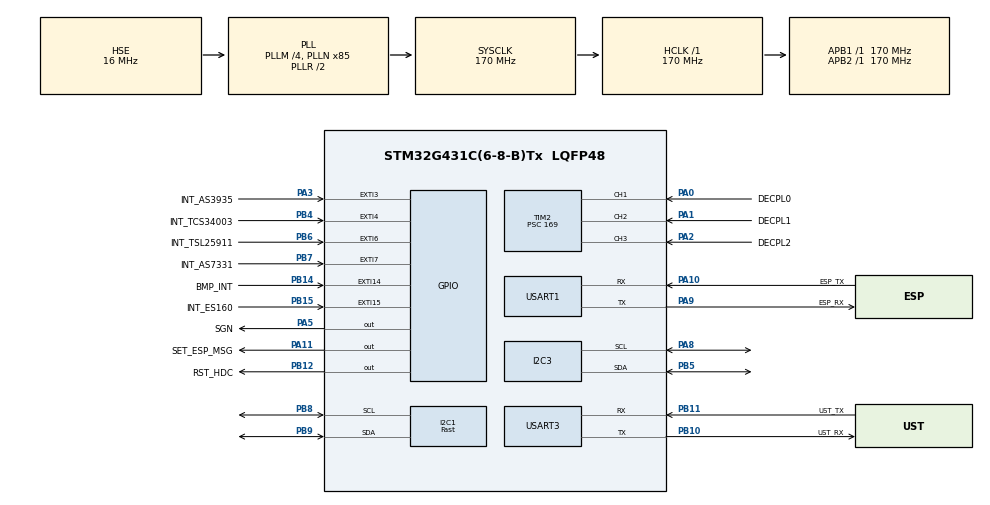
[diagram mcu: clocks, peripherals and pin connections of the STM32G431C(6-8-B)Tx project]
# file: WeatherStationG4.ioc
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Dma.CORDIC_READ.7.Direction=DMA_PERIPH_TO_MEMORY
Dma.CORDIC_READ.7.EventEnable=DISABLE
Dma.CORDIC_READ.7.Instance=DMA2_Channel2
Dma.CORDIC_READ.7.MemDataAlignment=DMA_MDATAALIGN_WORD
Dma.CORDIC_READ.7.MemInc=DMA_MINC_ENABLE
Dma.CORDIC_READ.7.Mode=DMA_NORMAL
Dma.CORDIC_READ.7.PeriphDataAlignment=DMA_PDATAALIGN_WORD
Dma.CORDIC_READ.7.PeriphInc=DMA_PINC_DISABLE
Dma.CORDIC_READ.7.Polarity=HAL_DMAMUX_REQ_GEN_RISING
Dma.CORDIC_READ.7.Priority=DMA_PRIORITY_MEDIUM
Dma.CORDIC_READ.7.RequestNumber=1
Dma.CORDIC_READ.7.SignalID=NONE
Dma.CORDIC_READ.7.SyncEnable=DISABLE
Dma.CORDIC_READ.7.SyncPolarity=HAL_DMAMUX_SYNC_NO_EVENT
Dma.CORDIC_READ.7.SyncRequestNumber=1
Dma.CORDIC_READ.7.SyncSignalID=NONE
Dma.CORDIC_WRITE.8.Direction=DMA_MEMORY_TO_PERIPH
Dma.CORDIC_WRITE.8.EventEnable=DISABLE
Dma.CORDIC_WRITE.8.Instance=DMA2_Channel3
Dma.CORDIC_WRITE.8.MemDataAlignment=DMA_MDATAALIGN_WORD
Dma.CORDIC_WRITE.8.MemInc=DMA_MINC_ENABLE
Dma.CORDIC_WRITE.8.Mode=DMA_NORMAL
Dma.CORDIC_WRITE.8.PeriphDataAlignment=DMA_PDATAALIGN_WORD
Dma.CORDIC_WRITE.8.PeriphInc=DMA_PINC_DISABLE
Dma.CORDIC_WRITE.8.Polarity=HAL_DMAMUX_REQ_GEN_RISING
Dma.CORDIC_WRITE.8.Priority=DMA_PRIORITY_MEDIUM
Dma.CORDIC_WRITE.8.RequestNumber=1
Dma.CORDIC_WRITE.8.SignalID=NONE
Dma.CORDIC_WRITE.8.SyncEnable=DISABLE
Dma.CORDIC_WRITE.8.SyncPolarity=HAL_DMAMUX_SYNC_NO_EVENT
Dma.CORDIC_WRITE.8.SyncRequestNumber=1
Dma.CORDIC_WRITE.8.SyncSignalID=NONE
Dma.Request0=USART1_RX
Dma.Request1=USART1_TX
Dma.Request2=TIM2_CH1
Dma.Request3=TIM2_CH2
Dma.Request4=TIM2_CH3
Dma.Request5=USART3_RX
Dma.Request6=USART3_TX
Dma.Request7=CORDIC_READ
Dma.Request8=CORDIC_WRITE
Dma.TIM2_CH1.2.Direction=DMA_PERIPH_TO_MEMORY
Dma.TIM2_CH1.2.EventEnable=DISABLE
Dma.TIM2_CH1.2.Instance=DMA1_Channel3
Dma.TIM2_CH1.2.MemDataAlignment=DMA_MDATAALIGN_WORD
Dma.TIM2_CH1.2.MemInc=DMA_MINC_ENABLE
Dma.TIM2_CH1.2.Mode=DMA_NORMAL
Dma.TIM2_CH1.2.PeriphDataAlignment=DMA_PDATAALIGN_WORD
Dma.TIM2_CH1.2.PeriphInc=DMA_PINC_DISABLE
Dma.TIM2_CH1.2.Polarity=HAL_DMAMUX_REQ_GEN_RISING
Dma.TIM2_CH1.2.Priority=DMA_PRIORITY_VERY_HIGH
Dma.TIM2_CH1.2.RequestNumber=1
Dma.TIM2_CH1.2.SignalID=NONE
Dma.TIM2_CH1.2.SyncEnable=DISABLE
Dma.TIM2_CH1.2.SyncPolarity=HAL_DMAMUX_SYNC_NO_EVENT
Dma.TIM2_CH1.2.SyncRequestNumber=1
Dma.TIM2_CH1.2.SyncSignalID=NONE
Dma.TIM2_CH2.3.Direction=DMA_PERIPH_TO_MEMORY
Dma.TIM2_CH2.3.EventEnable=DISABLE
Dma.TIM2_CH2.3.Instance=DMA1_Channel4
Dma.TIM2_CH2.3.MemDataAlignment=DMA_MDATAALIGN_WORD
Dma.TIM2_CH2.3.MemInc=DMA_MINC_ENABLE
Dma.TIM2_CH2.3.Mode=DMA_NORMAL
Dma.TIM2_CH2.3.PeriphDataAlignment=DMA_PDATAALIGN_WORD
Dma.TIM2_CH2.3.PeriphInc=DMA_PINC_DISABLE
Dma.TIM2_CH2.3.Polarity=HAL_DMAMUX_REQ_GEN_RISING
Dma.TIM2_CH2.3.Priority=DMA_PRIORITY_VERY_HIGH
Dma.TIM2_CH2.3.RequestNumber=1
Dma.TIM2_CH2.3.SignalID=NONE
Dma.TIM2_CH2.3.SyncEnable=DISABLE
Dma.TIM2_CH2.3.SyncPolarity=HAL_DMAMUX_SYNC_NO_EVENT
Dma.TIM2_CH2.3.SyncRequestNumber=1
Dma.TIM2_CH2.3.SyncSignalID=NONE
Dma.TIM2_CH3.4.Direction=DMA_PERIPH_TO_MEMORY
Dma.TIM2_CH3.4.EventEnable=DISABLE
Dma.TIM2_CH3.4.Instance=DMA1_Channel5
Dma.TIM2_CH3.4.MemDataAlignment=DMA_MDATAALIGN_WORD
Dma.TIM2_CH3.4.MemInc=DMA_MINC_ENABLE
Dma.TIM2_CH3.4.Mode=DMA_NORMAL
Dma.TIM2_CH3.4.PeriphDataAlignment=DMA_PDATAALIGN_WORD
Dma.TIM2_CH3.4.PeriphInc=DMA_PINC_DISABLE
Dma.TIM2_CH3.4.Polarity=HAL_DMAMUX_REQ_GEN_RISING
Dma.TIM2_CH3.4.Priority=DMA_PRIORITY_VERY_HIGH
Dma.TIM2_CH3.4.RequestNumber=1
Dma.TIM2_CH3.4.SignalID=NONE
Dma.TIM2_CH3.4.SyncEnable=DISABLE
Dma.TIM2_CH3.4.SyncPolarity=HAL_DMAMUX_SYNC_NO_EVENT
Dma.TIM2_CH3.4.SyncRequestNumber=1
Dma.TIM2_CH3.4.SyncSignalID=NONE
Dma.USART1_RX.0.Direction=DMA_PERIPH_TO_MEMORY
Dma.USART1_RX.0.EventEnable=DISABLE
Dma.USART1_RX.0.Instance=DMA1_Channel1
Dma.USART1_RX.0.MemDataAlignment=DMA_MDATAALIGN_BYTE
Dma.USART1_RX.0.MemInc=DMA_MINC_ENABLE
Dma.USART1_RX.0.Mode=DMA_CIRCULAR
Dma.USART1_RX.0.PeriphDataAlignment=DMA_PDATAALIGN_BYTE
Dma.USART1_RX.0.PeriphInc=DMA_PINC_DISABLE
Dma.USART1_RX.0.Polarity=HAL_DMAMUX_REQ_GEN_RISING
Dma.USART1_RX.0.Priority=DMA_PRIORITY_HIGH
Dma.USART1_RX.0.RequestNumber=1
Dma.USART1_RX.0.SignalID=NONE
Dma.USART1_RX.0.SyncEnable=DISABLE
Dma.USART1_RX.0.SyncPolarity=HAL_DMAMUX_SYNC_NO_EVENT
Dma.USART1_RX.0.SyncRequestNumber=1
Dma.USART1_RX.0.SyncSignalID=NONE
Dma.USART1_TX.1.Direction=DMA_MEMORY_TO_PERIPH
Dma.USART1_TX.1.EventEnable=DISABLE
Dma.USART1_TX.1.Instance=DMA1_Channel2
Dma.USART1_TX.1.MemDataAlignment=DMA_MDATAALIGN_BYTE
Dma.USART1_TX.1.MemInc=DMA_MINC_ENABLE
Dma.USART1_TX.1.Mode=DMA_NORMAL
Dma.USART1_TX.1.PeriphDataAlignment=DMA_PDATAALIGN_BYTE
Dma.USART1_TX.1.PeriphInc=DMA_PINC_DISABLE
Dma.USART1_TX.1.Polarity=HAL_DMAMUX_REQ_GEN_RISING
Dma.USART1_TX.1.Priority=DMA_PRIORITY_LOW
Dma.USART1_TX.1.RequestNumber=1
Dma.USART1_TX.1.SignalID=NONE
Dma.USART1_TX.1.SyncEnable=DISABLE
Dma.USART1_TX.1.SyncPolarity=HAL_DMAMUX_SYNC_NO_EVENT
Dma.USART1_TX.1.SyncRequestNumber=1
Dma.USART1_TX.1.SyncSignalID=NONE
Dma.USART3_RX.5.Direction=DMA_PERIPH_TO_MEMORY
Dma.USART3_RX.5.EventEnable=DISABLE
Dma.USART3_RX.5.Instance=DMA1_Channel6
Dma.USART3_RX.5.MemDataAlignment=DMA_MDATAALIGN_BYTE
Dma.USART3_RX.5.MemInc=DMA_MINC_ENABLE
Dma.USART3_RX.5.Mode=DMA_NORMAL
Dma.USART3_RX.5.PeriphDataAlignment=DMA_PDATAALIGN_BYTE
Dma.USART3_RX.5.PeriphInc=DMA_PINC_DISABLE
Dma.USART3_RX.5.Polarity=HAL_DMAMUX_REQ_GEN_RISING
Dma.USART3_RX.5.Priority=DMA_PRIORITY_HIGH
Dma.USART3_RX.5.RequestNumber=1
Dma.USART3_RX.5.SignalID=NONE
Dma.USART3_RX.5.SyncEnable=DISABLE
Dma.USART3_RX.5.SyncPolarity=HAL_DMAMUX_SYNC_NO_EVENT
Dma.USART3_RX.5.SyncRequestNumber=1
Dma.USART3_RX.5.SyncSignalID=NONE
Dma.USART3_TX.6.Direction=DMA_MEMORY_TO_PERIPH
Dma.USART3_TX.6.EventEnable=DISABLE
Dma.USART3_TX.6.Instance=DMA2_Channel1
Dma.USART3_TX.6.MemDataAlignment=DMA_MDATAALIGN_BYTE
Dma.USART3_TX.6.MemInc=DMA_MINC_ENABLE
Dma.USART3_TX.6.Mode=DMA_NORMAL
Dma.USART3_TX.6.PeriphDataAlignment=DMA_PDATAALIGN_BYTE
Dma.USART3_TX.6.PeriphInc=DMA_PINC_DISABLE
Dma.USART3_TX.6.Polarity=HAL_DMAMUX_REQ_GEN_RISING
Dma.USART3_TX.6.Priority=DMA_PRIORITY_LOW
Dma.USART3_TX.6.RequestNumber=1
Dma.USART3_TX.6.SignalID=NONE
Dma.USART3_TX.6.SyncEnable=DISABLE
Dma.USART3_TX.6.SyncPolarity=HAL_DMAMUX_SYNC_NO_EVENT
Dma.USART3_TX.6.SyncRequestNumber=1
Dma.USART3_TX.6.SyncSignalID=NONE
I2C1.I2C_Speed_Mode=I2C_Fast
I2C1.Timing=0x40621236
I2C3.Timing=0x40B285C2
Mcu.Family=STM32G4
Mcu.Name=STM32G431C(6-8-B)Tx
Mcu.Package=LQFP48
NVIC.CORDIC_IRQn=true\:3\:0\:true\:false\:true\:true\:true\:true
NVIC.DMA1_Channel1_IRQn=true\:1\:0\:true\:false\:true\:false\:true\:true
NVIC.DMA1_Channel2_IRQn=true\:1\:0\:true\:false\:true\:false\:true\:true
NVIC.DMA1_Channel3_IRQn=true\:0\:0\:false\:false\:true\:false\:true\:true
NVIC.DMA1_Channel4_IRQn=true\:0\:0\:false\:false\:true\:false\:true\:true
NVIC.DMA1_Channel5_IRQn=true\:0\:0\:false\:false\:true\:false\:true\:true
NVIC.DMA1_Channel6_IRQn=true\:1\:0\:true\:false\:true\:false\:true\:true
NVIC.DMA2_Channel1_IRQn=true\:0\:0\:false\:false\:true\:false\:true\:true
NVIC.DMA2_Channel2_IRQn=true\:0\:0\:false\:false\:true\:false\:true\:true
NVIC.DMA2_Channel3_IRQn=true\:0\:0\:false\:false\:true\:false\:true\:true
NVIC.EXTI15_10_IRQn=true\:4\:0\:true\:false\:true\:true\:true\:true
NVIC.EXTI3_IRQn=true\:4\:0\:true\:false\:true\:true\:true\:true
NVIC.EXTI4_IRQn=true\:4\:0\:true\:false\:true\:true\:true\:true
NVIC.EXTI9_5_IRQn=true\:4\:0\:true\:false\:true\:true\:true\:true
NVIC.PriorityGroup=NVIC_PRIORITYGROUP_4
NVIC.TIM2_IRQn=true\:2\:0\:true\:false\:true\:true\:true\:true
NVIC.USART1_IRQn=true\:0\:0\:false\:false\:true\:false\:true\:true
NVIC.USART3_IRQn=true\:0\:0\:false\:false\:true\:false\:true\:true
PA0.GPIO_Label=DECPL0
PA0.Signal=S_TIM2_CH1
PA1.GPIO_Label=DECPL1
PA1.Signal=S_TIM2_CH2
PA10.GPIO_Label=ESP_TX
PA10.Mode=Asynchronous
PA10.Signal=USART1_RX
PA11.GPIO_Label=SET_ESP_MSG
PA11.Signal=GPIO_Output
PA13.Mode=Trace_Asynchronous_SW
PA13.Signal=SYS_JTMS-SWDIO
PA14.Mode=Trace_Asynchronous_SW
PA14.Signal=SYS_JTCK-SWCLK
PA2.GPIO_Label=DECPL2
PA2.Signal=S_TIM2_CH3
PA3.GPIO_Label=INT_AS3935
PA3.Signal=GPXTI3
PA5.GPIO_Label=SGN
PA5.GPIO_Speed=GPIO_SPEED_FREQ_VERY_HIGH
PA5.Signal=GPIO_Output
PA8.Mode=I2C
PA8.Signal=I2C3_SCL
PA9.GPIO_Label=ESP_RX
PA9.Mode=Asynchronous
PA9.Signal=USART1_TX
PB10.GPIO_Label=UST_RX
PB10.Mode=Asynchronous
PB10.Signal=USART3_TX
PB11.GPIO_Label=UST_TX
PB11.GPIO_PuPd=GPIO_PULLUP
PB11.Mode=Asynchronous
PB11.Signal=USART3_RX
PB12.GPIO_Label=RST_HDC
PB12.PinState=GPIO_PIN_SET
PB12.Signal=GPIO_Output
PB14.GPIO_Label=BMP_INT
PB14.Signal=GPXTI14
PB15.GPIO_Label=INT_ES160
PB15.GPIO_ModeDefaultEXTI=GPIO_MODE_IT_FALLING
PB15.Signal=GPXTI15
PB3.Mode=Trace_Asynchronous_SW
PB3.Signal=SYS_JTDO-SWO
PB4.GPIO_Label=INT_TCS34003
PB4.GPIO_ModeDefaultEXTI=GPIO_MODE_IT_FALLING
PB4.Signal=GPXTI4
PB5.Mode=I2C
PB5.Signal=I2C3_SDA
PB6.GPIO_Label=INT_TSL25911
PB6.GPIO_ModeDefaultEXTI=GPIO_MODE_IT_FALLING
PB6.Signal=GPXTI6
PB7.GPIO_Label=INT_AS7331
PB7.Signal=GPXTI7
PB8-BOOT0.Mode=I2C
PB8-BOOT0.Signal=I2C1_SCL
PB9.Mode=I2C
PB9.Signal=I2C1_SDA
PF0-OSC_IN.Mode=HSE-External-Oscillator
PF0-OSC_IN.Signal=RCC_OSC_IN
PF1-OSC_OUT.Mode=HSE-External-Oscillator
PF1-OSC_OUT.Signal=RCC_OSC_OUT
ProjectManager.HeapSize=0x200
ProjectManager.StackSize=0x400
ProjectManager.TargetToolchain=MDK-ARM V5.32
RCC.ADC12Freq_Value=170000000
RCC.AHBFreq_Value=170000000
RCC.APB1Freq_Value=170000000
RCC.APB1TimFreq_Value=170000000
RCC.APB2Freq_Value=170000000
RCC.APB2TimFreq_Value=170000000
RCC.CortexFreq_Value=170000000
RCC.EXTERNAL_CLOCK_VALUE=12288000
RCC.HCLKFreq_Value=170000000
RCC.HSE_VALUE=16000000
RCC.HSI48_VALUE=48000000
RCC.HSI_VALUE=16000000
RCC.LSE_VALUE=32768
RCC.PLLM=RCC_PLLM_DIV4
RCC.PLLN=85
RCC.PLLSourceVirtual=RCC_PLLSOURCE_HSE
RCC.SYSCLKFreq_VALUE=170000000
RCC.SYSCLKSource=RCC_SYSCLKSOURCE_PLLCLK
RCC.USBFreq_Value=170000000
RCC.VCOOutputFreq_Value=340000000
SH.S_TIM2_CH1.0=TIM2_CH1,Input_Capture1_from_TI1
SH.S_TIM2_CH2.0=TIM2_CH2,Input_Capture2_from_TI2
SH.S_TIM2_CH3.0=TIM2_CH3,Input_Capture3_from_TI3
TIM2.Channel-Input_Capture1_from_TI1=TIM_CHANNEL_1
TIM2.Channel-Input_Capture2_from_TI2=TIM_CHANNEL_2
TIM2.Channel-Input_Capture3_from_TI3=TIM_CHANNEL_3
TIM2.ICPolarity_CH1=TIM_INPUTCHANNELPOLARITY_RISING
TIM2.ICPolarity_CH2=TIM_INPUTCHANNELPOLARITY_RISING
TIM2.ICPolarity_CH3=TIM_INPUTCHANNELPOLARITY_RISING
TIM2.Prescaler=169
USART1.VirtualMode-Asynchronous=VM_ASYNC
USART3.StopBits=STOPBITS_2
USART3.VirtualMode-Asynchronous=VM_ASYNC
VP_CORDIC_VS_CORDIC.Mode=CORDIC_Activate
VP_SYS_VS_DBSignals.Mode=DisableDeadBatterySignals
VP_TIM2_VS_ClockSourceINT.Mode=Internal
board=custom

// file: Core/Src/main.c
/**
  ******************************************************************************
  * @file           : main.c
  * @brief          : Main program body
  ******************************************************************************
  * @attention
  *
  * Copyright (c) 2026 STMicroelectronics.
  * All rights reserved.
  *
  * This software is licensed under terms that can be found in the LICENSE file
  * in the root directory of this software component.
  * If no LICENSE file comes with this software, it is provided AS-IS.
  *
  ******************************************************************************
  */
/* USER CODE END Header */
#include "main.h"
#include "cordic.h"
#include "dma.h"
#include "i2c.h"
#include "tim.h"
#include "usart.h"
#include "gpio.h"

/* USER CODE BEGIN Includes */
#include <stdio.h>
#include <string.h>
#include <math.h>
/* I2C3 sensors */
#include "BMP581.h"
#include "HDC302x.h"
#include "TCS34003.h"
#include "ENS160.h"
/* I2C1 sensors */
#include "TSL25911.h"
#include "AS7331.h"
#include "AS3935.h"
#include "PGA460.h"
#include "Wind.h"
#include "debug.h"
/* USER CODE END Includes */

/* USER CODE BEGIN PM */

/* =========================================================================
 * Sensor ready bitmasks
 * ======================================================================= */
#define SENSOR_ENV        (1u << 0)  /* BMP581 + HDC302x environmental data  */
#define SENSOR_AS7331     (1u << 1)  /* UV sensor                             */
#define SENSOR_ENS160     (1u << 2)  /* Air quality                           */
#define SENSOR_TCS34003   (1u << 3)  /* RGB colour                            */
#define SENSOR_TSL25911   (1u << 4)  /* Ambient light                         */
#define SENSOR_WIND       (1u << 5)  /* Wind (disabled — commented out below) */
#define SENSOR_AS3935     (1u << 6)  /* Lightning (preserved across frames)   */

/* Bits that must ALL be set before a sensor data frame is sent to the ESP.
 * SENSOR_WIND (bit 5) is excluded while wind measurement is disabled.
 * SENSOR_AS3935 (bit 6) is excluded — lightning is asynchronous and is
 * preserved in the payload until a new event overwrites it.               */
#define SENSOR_FRAME_MASK  0x1Fu     /* bits 0–4: ENV|AS7331|ENS160|TCS|TSL  */

/* =========================================================================
 * STM32 -> ESP  UART frame protocol
 *
 * Frame A — Sensor data (68 bytes):
 *   [0x23][0x40][Payload(64)][CRC16(2)]
 *   SOF = { 0x23, 0x40 }  (Start + Length byte, 0x40 = 64)
 *   CRC covers Payload only (64 bytes).
 *
 * Frame B — Wind calibration readback (17 bytes):
 *   [0x23][0x24][0x0C][D01(4)][D12(4)][D20(4)][CRC16(2)]
 *   SOF = { 0x23, 0x24 }  (Start + FrameType CAL)
 *   CRC covers Length byte + 3 x uint32 = 13 bytes.
 * ======================================================================= */
#define UART_FRAME_START   0x23u   /* '#'  first SOF byte for both TX frames  */
#define UART_FRAME_CAL     0x24u   /* '$'  second SOF byte for calibration TX */

/* =========================================================================
 * ESP -> STM  UART frame protocol
 *
 * Single frame type — 20 bytes:
 *   [0x23][FrameType(1)][Wind_Input_t(16)][CRC16(2)]
 *   CRC covers FrameType + Wind_Input_t = 17 bytes.
 *
 * FrameType values:
 *   0x24  UART_FRAME_CAL      Boot-time: ESP sends Height + D01/D12/D20 from NVS
 *   0x25  UART_FRAME_TMP      Height field carries float temperature reference (°C)
 *   0x26  UART_FRAME_RH       Height field carries float RH reference (%)
 *   0x27  UART_FRAME_RST      System reset request (Wind_Input_t payload ignored)
 *   0x28  UART_FRAME_CAL_REQ  Run Wind_CalibrateReflector() request
 * ======================================================================= */
#define UART_FRAME_TMP      0x25u   /* '%' temperature reference              */
#define UART_FRAME_RH       0x26u   /* '&' RH reference                       */
#define UART_FRAME_RST      0x27u   /* ''' reset                              */
#define UART_FRAME_CAL_REQ  0x28u   /* '(' calibration run request            */

/* ESP->STM frame size = Start(1) + FrameType(1) + Wind_Input_t(16) + CRC(2) */
#define UART_ESP_RX_SIZE   20u

/* =========================================================================
 * AS3935 interrupt type encoding in DistanceEstimation byte
 *
 * The AS3935_LightningData_t.DistanceEstimation byte carries two fields:
 *   Bits [5:0]  = distance code  (AS3935_Distance_t, 0x3F = out of range)
 *   Bits [7:4]  = interrupt type (AS3935_INT_t: 0x01=NH, 0x04=D, 0x08=L)
 *
 * Bits [7:6] of the raw register are reserved/always-zero per datasheet,
 * so packing the INT type there is non-destructive and backward-compatible
 * with any ESP code that masks off the upper nibble before reading distance.
 *
 * Helper macros:
 *   AS3935_ENCODE_DIST(irq, dist)  — pack for the wire
 *   AS3935_DECODE_INT(byte)        — extract INT type
 *   AS3935_DECODE_DIST(byte)       — extract distance code
 * ======================================================================= */
#define AS3935_ENCODE_DIST(irq, dist)  ((uint8_t)(((uint8_t)(irq) << 4) | ((dist) & 0x3Fu)))
#define AS3935_DECODE_INT(byte)        (((byte) >> 4) & 0x0Fu)
#define AS3935_DECODE_DIST(byte)       ((byte) & 0x3Fu)

/* =========================================================================
 * PID / sensor filtering constants
 * ======================================================================= */
#define DT_SEC             1.0f
#define TEMP_DEADBAND      0.2f
#define RH_DEADBAND        0.5f
#define MAX_TEMP_STEP      0.2f
#define MAX_RH_STEP        0.5f
#define TEMP_OFFSET_MIN   -1.0f
#define TEMP_OFFSET_MAX    1.0f
#define RH_OFFSET_MIN    -3.0f
#define RH_OFFSET_MAX     3.0f

/* USER CODE END PM */

/* USER CODE BEGIN PV */
/* Data-ready flags set by HAL_GPIO_EXTI_Callback (gpio.c) */
extern volatile uint8_t AS3935_Ready;
extern volatile uint8_t AS7331_Ready;
extern volatile uint8_t ENS160_Ready;
extern volatile uint8_t BMP_Ready;
extern volatile uint8_t TCS34003_Ready;
extern volatile uint8_t TSL25911_Ready;
extern volatile uint8_t ESP_Transmitting;

volatile uint8_t sensorReadyFlags = 0;

/* Shared environmental data — written by main loop, read by Wind.c */
extern Wind_EnvData_t externalData;

/* Sensor data structs */
BMP581_sensor_data_t BMP581_Data;
HDC302x_t            Sensor1;
HDC302x_t            Sensor2;
ENS160_Resistance_t  ENS160_Resistance;

/* Wind calibration data: Height, PathLenD01, PathLenD12, PathLenD20 */
extern Wind_Input_t calibData;

/* =========================================================================
 * UART_Payload_t — 64 bytes, must match ESP UART_Payload_t exactly.
 *
 * TCS34003: full TCS34003_LightData_t (22 B) is sent — RGBC(8) + IR(2)
 * + CCT(4) + Lux(4) + Irradiance(4).  All fields computed on STM and
 * published by ESP to individual MQTT topics.
 *
 * AS3935 note: LightningData_t.DistanceEstimation encodes both the INT type
 * (bits [7:4]) and the distance code (bits [5:0]).  See AS3935_ENCODE_DIST.
 * ======================================================================= */
typedef struct __attribute__((packed)) {
    Wind_EnvData_t       Env;          /* 20 B: Temp, RH, Pressure, DewPt, SndSpd */
    Wind_t               Wind;         /*  8 B: Speed (f32), Direction (f32)        */
    AS3935_LightningData_t Lightning;  /*  5 B: Energy (u32), DistanceEstimation(u8)*/
    AS7331_DataOut_t     UV;           /*  8 B: TEMP_C100, UVA, UVB, UVC (u16 x4)  */
    ENS160_Data_t        AirQuality;   /*  5 B: AQI (u8), TVOC (u16), eCO2 (u16)   */
    TCS34003_LightData_t LightRGB;     /* 22 B: RGBC(8)+IR(2)+CCT(4)+Lux(4)+Irr(4) */
    TSL25911_LightData_t Light;        /* 10 B: FS, IR, Vis (u16 x3), Lux (f32)    */
} UART_Payload_t;                      /* = 64 bytes total                          */

_Static_assert(sizeof(UART_Payload_t) == 78u,
    "UART_Payload_t size mismatch with ESP — check struct members");

/* =========================================================================
 * STM -> ESP sensor data frame.
 * Wire:  [0x23][0x4E][Payload(78)][CRC16(2)]  = 82 bytes.
 * ======================================================================= */
typedef struct __attribute__((packed)) {
    uint8_t        Start;    /* 0x23                              */
    uint8_t        Length;   /* sizeof(UART_Payload_t) = 64=0x40 */
    UART_Payload_t Payload;
    uint16_t       CR;       /* CRC16 over Payload only           */
} UART_TX_Frame_t;

_Static_assert(sizeof(UART_TX_Frame_t) == 82u,
    "UART_TX_Frame_t size mismatch with ESP");

/* =========================================================================
 * STM -> ESP calibration frame (after Wind_CalibrateReflector).
 * Wire:  [0x23][0x24][0x0C][D01(4)][D12(4)][D20(4)][CRC16(2)]  = 17 bytes.
 * CRC covers: Length(1) + D01(4) + D12(4) + D20(4) = 13 bytes.
 * ======================================================================= */
typedef struct __attribute__((packed)) {
    uint8_t  Start;       /* UART_FRAME_START 0x23          */
    uint8_t  FrameType;   /* UART_FRAME_CAL   0x24          */
    uint8_t  Length;      /* 3 * sizeof(uint32_t) = 12      */
    uint32_t PathLenD01;
    uint32_t PathLenD12;
    uint32_t PathLenD20;
    uint16_t CR;
} UART_TX_Cal_Frame_t;

_Static_assert(sizeof(UART_TX_Cal_Frame_t) == 17u,
    "UART_TX_Cal_Frame_t size mismatch");

/* =========================================================================
 * ESP -> STM command frame (all types share this layout).
 * Wire:  [0x23][FrameType(1)][Wind_Input_t(16)][CRC16(2)]  = 20 bytes.
 * CRC covers: FrameType(1) + Wind_Input_t(16) = 17 bytes.
 * ======================================================================= */
typedef struct __attribute__((packed)) {
    uint8_t      Start;      /* UART_FRAME_START 0x23                      */
    uint8_t      FrameType;  /* 0x24..0x28 — selects action                */
    Wind_Input_t Payload;    /* Wind_Input_t: Height(4), D01(4),D12(4),D20(4) */
    uint16_t     CR;         /* CRC16 over FrameType + Wind_Input_t        */
} UART_RX_Frame_t;

_Static_assert(sizeof(UART_RX_Frame_t) == 20u,
    "UART_RX_Frame_t size mismatch");

/* DMA buffers */
static UART_TX_Frame_t  txFrameBuf;
static uint8_t          espRxBuf[UART_ESP_RX_SIZE];

/* Runtime state */
static float            temperatureCalibrated = 0.0f;
static float            humidityCalibrated    = 0.0f;
static uint8_t          isReset               = 0;
static volatile uint8_t isCalibrate           = 0;
volatile uint8_t        dmaTxBusy             = 0;  /* extern in usart.c */
uint32_t                time                  = 0;

typedef struct {
    float kp, ki, kd;
    float integral;
    float prevError;
    float outMin, outMax;
    float errAvg;
    float errVar;
} PID_t;

PID_t pidTemp1 = { .kp = 0.3f,  .ki = 0.05f, .kd = 0.1f,  .outMin = -5.0f,  .outMax = 5.0f  };
PID_t pidTemp2 = { .kp = 0.3f,  .ki = 0.05f, .kd = 0.1f,  .outMin = -5.0f,  .outMax = 5.0f  };
PID_t pidRH    = { .kp = 0.2f,  .ki = 0.02f, .kd = 0.05f, .outMin = -10.0f, .outMax = 10.0f };

/* USER CODE END PV */

void SystemClock_Config(void);

/* USER CODE BEGIN 0 */

/* -------------------------------------------------------------------------
 * CRC16 (Modbus) — matches the ESP implementation exactly.
 * ---------------------------------------------------------------------- */
static uint16_t CRC16(const uint8_t *data, uint16_t len) {
    uint16_t crc = 0xFFFFu;
    for (uint16_t i = 0; i < len; i++) {
        crc ^= data[i];
        for (uint8_t j = 0; j < 8u; j++) {
            crc = (crc & 1u) ? ((crc >> 1) ^ 0xA001u) : (crc >> 1);
        }
    }
    return crc;
}

/* -------------------------------------------------------------------------
 * SendDataToESP — non-blocking DMA TX.
 *
 * Wire frame: [0x23][0x4E][Payload(78)][CRC16(2)] = 82 bytes.
 * The ESP processSTMbyte() syncs on the two-byte sequence {0x23, 0x4E}.
 * STM_START_TX asserts SET_ESP_MSG so the ESP backs off (FIX-3 on ESP side).
 * dmaTxBusy is cleared in HAL_UART_TxCpltCallback (usart.c) on DMA complete.
 * ---------------------------------------------------------------------- */
void SendDataToESP(void) {
    if (dmaTxBusy) return;
    txFrameBuf.CR = CRC16((const uint8_t *)&txFrameBuf.Payload,
                          sizeof(UART_Payload_t));
    dmaTxBusy = 1;
    STM_START_TX;
    HAL_UART_Transmit_DMA(&huart1, (uint8_t *)&txFrameBuf,
                          sizeof(UART_TX_Frame_t));
}

/* -------------------------------------------------------------------------
 * SendCalibrationToESP — DMA TX of calibrated path lengths.
 *
 * Called after a successful Wind_CalibrateReflector().
 * Wire frame: [0x23][0x24][0x0C][D01][D12][D20][CRC16] = 17 bytes.
 * The ESP processSTMbyte() syncs on {0x23, 0x24} (CAL_SOF_B0/B1).
 * CRC covers: Length(1) + D01(4) + D12(4) + D20(4) = 13 bytes.
 * ---------------------------------------------------------------------- */
void SendCalibrationToESP(void) {
    if (dmaTxBusy) return;
    static UART_TX_Cal_Frame_t calFrame;   /* static: DMA needs it alive after return */
    calFrame.Start      = UART_FRAME_START;
    calFrame.FrameType  = UART_FRAME_CAL;
    calFrame.Length     = (uint8_t)(3u * sizeof(uint32_t));  /* 12 = 0x0C */
    calFrame.PathLenD01 = calibData.PathLenD01;
    calFrame.PathLenD12 = calibData.PathLenD12;
    calFrame.PathLenD20 = calibData.PathLenD20;
    calFrame.CR = CRC16((const uint8_t *)&calFrame.Length,
                        1u + 3u * sizeof(uint32_t));
    dmaTxBusy = 1;
    STM_START_TX;
    HAL_UART_Transmit_DMA(&huart1, (uint8_t *)&calFrame,
                          sizeof(UART_TX_Cal_Frame_t));
    DEBUG("Cal sent: D01=%lu D12=%lu D20=%lu um\n",
          (unsigned long)calFrame.PathLenD01,
          (unsigned long)calFrame.PathLenD12,
          (unsigned long)calFrame.PathLenD20);
}

/* HAL_UART_TxCpltCallback is defined in usart.c — handles both
 * USART3 (PGA460, sets ust_tx_done) and USART1 (ESP, clears
 * dmaTxBusy and deasserts STM_STOP_TX).                       */

/* -------------------------------------------------------------------------
 * HAL_UART_RxCpltCallback — process one 20-byte ESP->STM frame.
 *
 * All command types share the same 20-byte UART_RX_Frame_t layout:
 *   [0x23][FrameType][Wind_Input_t(16)][CRC16(2)]
 * CRC is verified over FrameType + Wind_Input_t (17 bytes).
 *
 * Wind_Input_t field usage by FrameType:
 *   0x24 (CAL)      : full struct  — Height (float bits), D01, D12, D20
 *   0x25 (TMP)      : Height field carries IEEE-754 float temperature (°C)
 *   0x26 (RH)       : Height field carries IEEE-754 float RH (%)
 *   0x27 (RST)      : payload ignored — trigger NVIC reset
 *   0x28 (CAL_REQ)  : payload ignored — trigger Wind_CalibrateReflector()
 * ---------------------------------------------------------------------- */
void HAL_UART_RxCpltCallback(UART_HandleTypeDef *huart) {
    if (huart->Instance != USART1) return;

    const UART_RX_Frame_t *f = (const UART_RX_Frame_t *)espRxBuf;

    /* Validate start byte.
     * DMA is fixed 20-byte circular — TC fires every 20 bytes regardless of
     * content.  If Start is wrong the DMA counter is misaligned (e.g. due to
     * a partial send or UART glitch).  Abort and restart the DMA to reset the
     * 20-byte window; the next complete ESP frame will re-align correctly.
     * The ESP always sends exactly CMD_FRAME_SIZE = 20 bytes per frame and
     * calls Serial1.flush(), so a single restart is sufficient to recover.   */
    if (f->Start != UART_FRAME_START) {
        HAL_UART_AbortReceive(&huart1);
        HAL_UART_Receive_DMA(&huart1, espRxBuf, UART_ESP_RX_SIZE);
        __HAL_DMA_DISABLE_IT(huart1.hdmarx, DMA_IT_HT);
        DEBUG("ESP RX sync lost — DMA restarted");
        return;
    }

    /* Verify CRC over FrameType (1) + Wind_Input_t (16) = 17 bytes */
    uint16_t calcCRC = CRC16((const uint8_t *)&f->FrameType,
                             1u + sizeof(Wind_Input_t));
    if (calcCRC != f->CR) {
        DEBUG("ESP RX CRC error (type=0x%02X)\n", f->FrameType);
        return;
    }

    switch (f->FrameType) {

        case UART_FRAME_CAL:
            /* Boot-time: ESP sends Height + acoustic path lengths from NVS.
             * Copy the whole Wind_Input_t directly into calibData.          */
            calibData = f->Payload;
            DEBUG("Cal RX: H=%lu D01=%lu D12=%lu D20=%lu\n",
                  (unsigned long)f->Payload.Height,
                  (unsigned long)f->Payload.PathLenD01,
                  (unsigned long)f->Payload.PathLenD12,
                  (unsigned long)f->Payload.PathLenD20);
            break;

        case UART_FRAME_TMP: {
            /* Height field carries the float temperature reference (°C).   */
            float tmp;
            memcpy(&tmp, &f->Payload.Height, sizeof(float));
            temperatureCalibrated = tmp;
            DEBUG("Temp ref: %.2f C\n", tmp);
            break;
        }

        case UART_FRAME_RH: {
            /* Height field carries the float RH reference (%).             */
            float tmp;
            memcpy(&tmp, &f->Payload.Height, sizeof(float));
            humidityCalibrated = tmp;
            DEBUG("RH ref: %.2f %%\n", tmp);
            break;
        }

        case UART_FRAME_RST:
            isReset = 1;
            break;

        case UART_FRAME_CAL_REQ:
            isCalibrate = 1;
            break;

        default:
            DEBUG("ESP RX unknown FrameType 0x%02X\n", f->FrameType);
            break;
    }
}

/* -------------------------------------------------------------------------
 * Adaptive PID controller
 * ---------------------------------------------------------------------- */
static void PID_Adapt(PID_t *pid, float error) {
    const float alpha = 0.05f;
    pid->errAvg = (1.0f - alpha) * pid->errAvg + alpha * error;
    float diff  = error - pid->errAvg;
    pid->errVar = (1.0f - alpha) * pid->errVar + alpha * (diff * diff);
    float absErr = fabsf(error);
    if (absErr > 1.0f  && pid->errVar < 0.1f) pid->kp += 0.005f;
    if (fabsf(pid->errAvg) > 0.5f)            pid->ki += 0.001f;
    if (pid->errVar > 0.5f) { pid->kd += 0.005f; pid->kp *= 0.995f; }
    if (pid->kp > 1.0f)  pid->kp = 1.0f;   if (pid->kp < 0.05f) pid->kp = 0.05f;
    if (pid->ki > 0.2f)  pid->ki = 0.2f;   if (pid->ki < 0.0f)  pid->ki = 0.0f;
    if (pid->kd > 0.5f)  pid->kd = 0.5f;   if (pid->kd < 0.0f)  pid->kd = 0.0f;
}

static float PID_Update_Adaptive(PID_t *pid, float error, float dt) {
    PID_Adapt(pid, error);
    float P = pid->kp * error;
    pid->integral += error * dt;
    if (pid->integral > pid->outMax) pid->integral = pid->outMax;
    if (pid->integral < pid->outMin) pid->integral = pid->outMin;
    float I   = pid->ki * pid->integral;
    float D   = pid->kd * (error - pid->prevError) / dt;
    pid->prevError = error;
    float out = P + I + D;
    if (out > pid->outMax) out = pid->outMax;
    if (out < pid->outMin) out = pid->outMin;
    return out;
}
/* USER CODE END 0 */

int main(void)
{

  /* MCU Configuration--------------------------------------------------------*/
  HAL_Init();

  /* Configure the system clock */
  SystemClock_Config();

  /* Initialize all configured peripherals */
  MX_GPIO_Init();
  MX_DMA_Init();
  MX_USART1_UART_Init();
  MX_TIM2_Init();
  MX_USART3_UART_Init();
  MX_I2C1_Init();
  MX_I2C3_Init();
  MX_CORDIC_Init();

  /* USER CODE BEGIN 2 */
#ifdef AS3935_MODE_IRQ
    Enable_EXTI_AS3935();
#endif /* AS3935_MODE_IRQ */

    /* Initialise TX frame fixed header fields */
    txFrameBuf.Start  = UART_FRAME_START;
    txFrameBuf.Length = (uint8_t)sizeof(UART_Payload_t);   /* 78 = 0x4E */

    /* Start DMA RX from ESP in circular mode — TC interrupt only */
    HAL_UART_Receive_DMA(&huart1, espRxBuf, UART_ESP_RX_SIZE);
    __HAL_DMA_DISABLE_IT(huart1.hdmarx, DMA_IT_HT);

    /* HDC302x temperature / humidity sensors */
    Sensor1.Address = HDC302X_SENSOR_1_ADDR;
    if (HDC302x_Init(&Sensor1) != HAL_OK) {
        DEBUG("Sensor 1 init failed!\n");
    } else {
        DEBUG("Sensor 1 init OK.\n");
    }
    Sensor2.Address = HDC302X_SENSOR_2_ADDR;
    if (HDC302x_Init(&Sensor2) != HAL_OK) {
        DEBUG("Sensor 2 init failed!\n");
    } else {
        DEBUG("Sensor 2 init OK.\n");
    }
    HDC302x_StartAutoMeasurement(&Sensor1, HDC302X_CMD_AUTO_MEASUREMENT_1_PER_SECOND_LPM0);
    HDC302x_StartAutoMeasurement(&Sensor2, HDC302X_CMD_AUTO_MEASUREMENT_1_PER_SECOND_LPM0);

    /* BMP581 pressure / temperature (interrupt-driven) */
    if (BMP581_Init() == HAL_OK) {
        DEBUG("BMP581 init OK!\n");
    } else {
        DEBUG("BMP581 init FAIL!\n");
    }

    /* ENS160 air quality */
    if (ENS160_Init() != HAL_OK) {
        DEBUG("ENS160 init failed!\n");
    }

    /* AS3935 lightning sensor */
    if (AS3935_Init() != HAL_OK) {
        DEBUG("AS3935 init failed!\n");
    }
#ifdef AS3935_MODE_CALIB
    else {
        /* Antenna tuning: TIM2 CH4 is configured for input capture in
         * CALIB mode.  Start the timer base then run the sweep.        */
        HAL_TIM_Base_Start(&htim2);
        DEBUG("_______________________\n");
        AS3935_TuneCap_t bestCap = AS3935_TuneAntenna();
        AS3935_SetTuningCapacitor(bestCap);
        HAL_TIM_Base_Stop(&htim2);
        DEBUG("AS3935 tuning done, cap=%d\n", (int)bestCap);
    }
#endif /* AS3935_MODE_CALIB */

    /* UV, colour and ambient light sensors */
    if (AS7331_Init()   != HAL_OK) { DEBUG("AS7331 init failed!\n");   }
    if (TCS34003_Init() != HAL_OK) { DEBUG("TCS34003 init failed!\n"); }
    if (TSL25911_Init() != HAL_OK) { DEBUG("TSL25911 init failed!\n"); }

    /* Wind measurement — uncomment when PGA460 hardware is fitted */
    /* PGA460_Init(0); */
    /* Wind_Init();    */

    time = HAL_GetTick();
  /* USER CODE END 2 */

  /* Infinite loop */
  /* USER CODE BEGIN WHILE */
  while (1)
  {
        /* --- System reset requested by ESP --- */
        if (isReset) {
            HAL_Delay(10);
            __NVIC_SystemReset();
        }

        /* --- Wind calibration requested by ESP (MQTT) --- */
        if (isCalibrate) {
            isCalibrate = 0;
            DEBUG("Calibration requested by ESP\n");
            if (Wind_CalibrateReflector() == HAL_OK) {
                SendCalibrationToESP();
            } else {
                DEBUG("Calibration FAILED\n");
            }
        }

        /* --- BMP581 + HDC302x (~1 Hz, BMP interrupt-driven) --- */
        if (BMP_Ready) {
            BMP_Ready = 0;
            float temp1 = 0.0f, temp2 = 0.0f, rh1 = 0.0f, rh2 = 0.0f;
            static float prevOutT1  = 0.0f, prevOutT2  = 0.0f;
            static float prevOutRH1 = 0.0f, prevOutRH2 = 0.0f;

            BMP581_Get_TempPressData(&BMP581_Data);
            if (HDC302x_ReadData(&Sensor1) == HAL_OK) { temp1 = Sensor1.Data.Temperature; rh1 = Sensor1.Data.Humidity; }
            if (HDC302x_ReadData(&Sensor2) == HAL_OK) { temp2 = Sensor2.Data.Temperature; rh2 = Sensor2.Data.Humidity; }

            /* Temperature PID */
            float tempRef = (temperatureCalibrated != 0.0f) ? temperatureCalibrated : BMP581_Data.temperature;
            float errT1 = tempRef - temp1; if (fabsf(errT1) < TEMP_DEADBAND) errT1 = 0.0f;
            float errT2 = tempRef - temp2; if (fabsf(errT2) < TEMP_DEADBAND) errT2 = 0.0f;
            float outT1 = PID_Update_Adaptive(&pidTemp1, errT1, DT_SEC);
            float outT2 = PID_Update_Adaptive(&pidTemp2, errT2, DT_SEC);
            float dT1 = outT1 - prevOutT1;
            if (dT1 >  MAX_TEMP_STEP) outT1 = prevOutT1 + MAX_TEMP_STEP;
            if (dT1 < -MAX_TEMP_STEP) outT1 = prevOutT1 - MAX_TEMP_STEP;
            float dT2 = outT2 - prevOutT2;
            if (dT2 >  MAX_TEMP_STEP) outT2 = prevOutT2 + MAX_TEMP_STEP;
            if (dT2 < -MAX_TEMP_STEP) outT2 = prevOutT2 - MAX_TEMP_STEP;
            prevOutT1 = outT1; prevOutT2 = outT2;
            if (outT1 > TEMP_OFFSET_MAX) outT1 = TEMP_OFFSET_MAX;
            if (outT1 < TEMP_OFFSET_MIN) outT1 = TEMP_OFFSET_MIN;
            if (outT2 > TEMP_OFFSET_MAX) outT2 = TEMP_OFFSET_MAX;
            if (outT2 < TEMP_OFFSET_MIN) outT2 = TEMP_OFFSET_MIN;

            /* Humidity PID */
            float rhRef = (humidityCalibrated != 0.0f) ? humidityCalibrated : (rh1 + rh2) * 0.5f;
            float errRH1 = rhRef - rh1; if (fabsf(errRH1) < RH_DEADBAND) errRH1 = 0.0f;
            float errRH2 = rhRef - rh2; if (fabsf(errRH2) < RH_DEADBAND) errRH2 = 0.0f;
            float outRH1 = PID_Update_Adaptive(&pidRH, errRH1, DT_SEC);
            float outRH2 = PID_Update_Adaptive(&pidRH, errRH2, DT_SEC);
            float dRH1 = outRH1 - prevOutRH1;
            if (dRH1 >  MAX_RH_STEP) outRH1 = prevOutRH1 + MAX_RH_STEP;
            if (dRH1 < -MAX_RH_STEP) outRH1 = prevOutRH1 - MAX_RH_STEP;
            float dRH2 = outRH2 - prevOutRH2;
            if (dRH2 >  MAX_RH_STEP) outRH2 = prevOutRH2 + MAX_RH_STEP;
            if (dRH2 < -MAX_RH_STEP) outRH2 = prevOutRH2 - MAX_RH_STEP;
            prevOutRH1 = outRH1; prevOutRH2 = outRH2;
            if (outRH1 > RH_OFFSET_MAX) outRH1 = RH_OFFSET_MAX;
            if (outRH1 < RH_OFFSET_MIN) outRH1 = RH_OFFSET_MIN;
            if (outRH2 > RH_OFFSET_MAX) outRH2 = RH_OFFSET_MAX;
            if (outRH2 < RH_OFFSET_MIN) outRH2 = RH_OFFSET_MIN;

            HDC302x_SetOffset(&Sensor1, outT1, outRH1);
            HDC302x_SetOffset(&Sensor2, outT2, outRH2);

            txFrameBuf.Payload.Env.Temperature = (temp1 + outT1 + temp2 + outT2) * 0.5f;
            txFrameBuf.Payload.Env.RH          = (rh1 + outRH1 + rh2 + outRH2) * 0.5f;
            txFrameBuf.Payload.Env.Pressure    = BMP581_Data.pressure;

            ENS160_SetEnvCompensation(txFrameBuf.Payload.Env.Temperature,
                                      txFrameBuf.Payload.Env.RH);

            externalData.Temperature = txFrameBuf.Payload.Env.Temperature;
            externalData.RH          = txFrameBuf.Payload.Env.RH;
            externalData.Pressure    = txFrameBuf.Payload.Env.Pressure;
            Wind_ComputeSoundSpeed();
            txFrameBuf.Payload.Env.DewPoint   = externalData.DewPoint;
            txFrameBuf.Payload.Env.SoundSpeed = externalData.SoundSpeed;

            sensorReadyFlags |= SENSOR_ENV;
        }

        /* --- AS3935 lightning sensor (EXTI interrupt-driven) ---
         *
         * AS3935_GetInterruptType() reads the INT register and handles the
         * mandatory >= 2 ms post-IRQ delay internally.
         *
         * All three interrupt types are forwarded to the ESP so it can publish
         * each event to its own MQTT topic.  The interrupt type is packed into
         * bits [7:4] of DistanceEstimation (bits [5:0] carry the distance code;
         * bits [7:6] are reserved-zero in the raw register).
         *
         * INT_L  (0x08) — real lightning strike: read energy + distance.
         * INT_D  (0x04) — disturber detected: no valid distance, send 0x3F.
         * INT_NH (0x01) — noise floor too high: no valid distance, send 0x3F.
         *
         * SENSOR_AS3935 is set on every interrupt so the ESP receives an
         * up-to-date event in the next regular sensor frame.
         * The flag is preserved (not cleared) after each frame send so the
         * last lightning reading persists in the payload until overwritten.  */
        if (AS3935_Ready) {
            AS3935_Ready = 0;
            AS3935_INT_t irqType = AS3935_GetInterruptType();

            if (irqType == AS3935_INT_L) {
                AS3935_LightningData_t tmp;
                if (AS3935_ReadLightningData(&tmp) == HAL_OK) {
                    txFrameBuf.Payload.Lightning.LightningEnergy    = tmp.LightningEnergy;
                    txFrameBuf.Payload.Lightning.DistanceEstimation =
                        AS3935_ENCODE_DIST(AS3935_INT_L, tmp.DistanceEstimation);
                    DEBUG("AS3935: LIGHTNING  E=%lu  D=0x%02X\n",
                          (unsigned long)tmp.LightningEnergy,
                          tmp.DistanceEstimation);
                }
            } else if (irqType == AS3935_INT_D) {
                txFrameBuf.Payload.Lightning.LightningEnergy    = 0u;
                txFrameBuf.Payload.Lightning.DistanceEstimation =
                    AS3935_ENCODE_DIST(AS3935_INT_D, AS3935_DIST_OUT_OF_RANGE);
                DEBUG("AS3935: DISTURBER\n");
            } else if (irqType == AS3935_INT_NH) {
                txFrameBuf.Payload.Lightning.LightningEnergy    = 0u;
                txFrameBuf.Payload.Lightning.DistanceEstimation =
                    AS3935_ENCODE_DIST(AS3935_INT_NH, AS3935_DIST_OUT_OF_RANGE);
                DEBUG("AS3935: NOISE HIGH\n");
            }
            /* Set flag for all valid interrupt types */
            if (irqType != AS3935_INT_NONE) {
                sensorReadyFlags |= SENSOR_AS3935;
            }
        }

        /* --- AS7331 UV sensor (~794 ms, interrupt-driven) --- */
        if (AS7331_Ready) {
            AS7331_Ready = 0;
            AS7331_ReadUVData(&txFrameBuf.Payload.UV);
            sensorReadyFlags |= SENSOR_AS7331;
        }

        /* --- ENS160 air quality (~1054 ms, interrupt-driven) --- */
        if (ENS160_Ready) {
            ENS160_Ready = 0;
            ENS160_ReadAllData(&txFrameBuf.Payload.AirQuality, &ENS160_Resistance);
            sensorReadyFlags |= SENSOR_ENS160;
        }

        /* --- TCS34003 colour sensor (~1003 ms, interrupt-driven) --- */
        if (TCS34003_Ready) {
            TCS34003_Ready = 0;
            if (TCS34003_GetLightData(&txFrameBuf.Payload.LightRGB) == HAL_OK) {
                /* Full TCS34003_LightData_t: RGBC + IR + CCT + Lux + Irradiance */
            } else {
                DEBUG("TCS34003 read failed!\n");
            }
            sensorReadyFlags |= SENSOR_TCS34003;
        }

        /* --- TSL25911 ambient light (~584 ms, interrupt-driven) --- */
        if (TSL25911_Ready) {
            TSL25911_Ready = 0;
            HAL_Delay(1);
            if (TSL25911_ReadLightData(&txFrameBuf.Payload.Light) != HAL_OK) {
                DEBUG("TSL25911 read failed!\n");
            }
            sensorReadyFlags |= SENSOR_TSL25911;
            DEBUG("Period: %lu ms\n", (unsigned long)(HAL_GetTick() - time));
            time = HAL_GetTick();
        }

        /* --- Wind measurement (disabled until PGA460 hardware is fitted) ---
        if (Wind_Measure(&txFrameBuf.Payload.Wind) == HAL_OK) {
            DEBUG("Wind: %.2f m/s @ %.1f deg\n",
                  txFrameBuf.Payload.Wind.Speed,
                  txFrameBuf.Payload.Wind.Direction);
            sensorReadyFlags |= SENSOR_WIND;
        }
        */

        /* --- Transmit sensor frame when all mandatory sensors are ready ---
         *
         * SENSOR_FRAME_MASK (0x1F) covers bits 0-4 only.
         * SENSOR_AS3935 (bit 6) is excluded: lightning is asynchronous and
         * must not block the regular ~1 Hz data cycle.
         *
         * After sending, SENSOR_AS3935 is preserved so the last lightning
         * event stays in the payload for the next frame.  All other bits
         * are cleared.                                                     */
        if ((sensorReadyFlags & SENSOR_FRAME_MASK) == SENSOR_FRAME_MASK) {
            SendDataToESP();
            sensorReadyFlags &= SENSOR_AS3935;
        }

    /* USER CODE END WHILE */

  }
}

void SystemClock_Config(void)
{
  RCC_OscInitTypeDef RCC_OscInitStruct = {0};
  RCC_ClkInitTypeDef RCC_ClkInitStruct = {0};

  HAL_PWREx_ControlVoltageScaling(PWR_REGULATOR_VOLTAGE_SCALE1_BOOST);

  RCC_OscInitStruct.OscillatorType = RCC_OSCILLATORTYPE_HSE;
  RCC_OscInitStruct.HSEState       = RCC_HSE_ON;
  RCC_OscInitStruct.PLL.PLLState   = RCC_PLL_ON;
  RCC_OscInitStruct.PLL.PLLSource  = RCC_PLLSOURCE_HSE;
  RCC_OscInitStruct.PLL.PLLM       = RCC_PLLM_DIV4;
  RCC_OscInitStruct.PLL.PLLN       = 85;
  RCC_OscInitStruct.PLL.PLLP       = RCC_PLLP_DIV2;
  RCC_OscInitStruct.PLL.PLLQ       = RCC_PLLQ_DIV2;
  RCC_OscInitStruct.PLL.PLLR       = RCC_PLLR_DIV2;
  if (HAL_RCC_OscConfig(&RCC_OscInitStruct) != HAL_OK) { Error_Handler(); }

  RCC_ClkInitStruct.ClockType      = RCC_CLOCKTYPE_HCLK | RCC_CLOCKTYPE_SYSCLK
                                   | RCC_CLOCKTYPE_PCLK1 | RCC_CLOCKTYPE_PCLK2;
  RCC_ClkInitStruct.SYSCLKSource   = RCC_SYSCLKSOURCE_PLLCLK;
  RCC_ClkInitStruct.AHBCLKDivider  = RCC_SYSCLK_DIV1;
  RCC_ClkInitStruct.APB1CLKDivider = RCC_HCLK_DIV1;
  RCC_ClkInitStruct.APB2CLKDivider = RCC_HCLK_DIV1;
  if (HAL_RCC_ClockConfig(&RCC_ClkInitStruct, FLASH_LATENCY_4) != HAL_OK) { Error_Handler(); }
}

void Error_Handler(void)
{
  __disable_irq();
  while (1) {}
}
